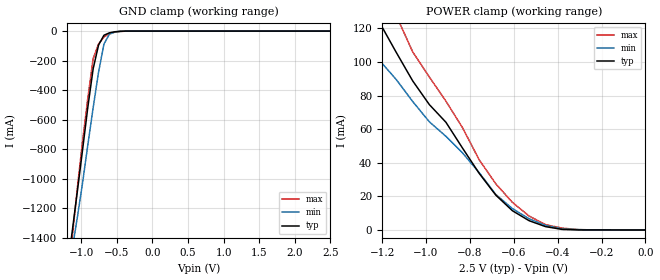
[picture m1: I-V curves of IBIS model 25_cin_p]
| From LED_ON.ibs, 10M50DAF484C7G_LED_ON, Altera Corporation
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|MODEL 25_cin_p
[Model]   25_cin_p
Model_type   Input
Polarity   Non-Inverting
Vinl   = 0.700
Vinh   = 1.700
C_comp 4.5pF   4.5pF   4.5pF
[Model Spec]
Vinh   1.700   1.700   1.700
Vinl   0.700   0.700   0.700
[Temperature Range]   25   85   0
[Voltage Range]   2.500   2.325   2.625
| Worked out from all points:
|   GND clamp passes 1 mA (typ) near -0.44 V on its own axis
|   POWER clamp passes 1 mA (typ) near -0.41 V on its own axis
[GND Clamp]
| voltage   I (typ)   I (min)   I (max)
-2.5V     -5.9A      -5.373A    -6.888A
-1.136V   -1.391A    -1.505A    -1.44A
-1.061V   -1.107A    -1.279A    -1.088A
-984.9mV  -815mA     -1.038A    -757.7mA
-909.1mV  -518.6mA   -774.5mA   -457.2mA
-833.3mV  -255mA     -518.7mA   -186.5mA
-757.6mV  -94.81mA   -278.2mA   -87.08mA
-681.8mV  -28.16mA   -88.01mA   -39.35mA
-606.1mV  -11.9mA    -20.93mA   -18.07mA
-530.3mV  -4.732mA   -6.889mA   -7.205mA
-454.6mV  -1.272mA   -1.883mA   -2.74mA
2.5V      0A         0A         0A
[Power Clamp]
| voltage   I (typ)   I (min)   I (max)
-2.5V     372.2mA    294.9mA    435mA
-1.364V   144.9mA    122.3mA    171.2mA
-1.212V   123.6mA    101mA      146.3mA
-1.136V   105.9mA    89.7mA     127.9mA
-984.9mV  74.66mA    64.41mA    91.08mA
-909.1mV  64.11mA    55.73mA    76.67mA
-757.6mV  33.71mA    34.13mA    41.77mA
-681.8mV  20.74mA    21.14mA    27.47mA
-606.1mV  11.45mA    12.73mA    16.41mA
-530.3mV  5.533mA    6.673mA    8.311mA
-378.8mV  308.8uA    639.7uA    1.08mA
0V        0A         0A         0A
